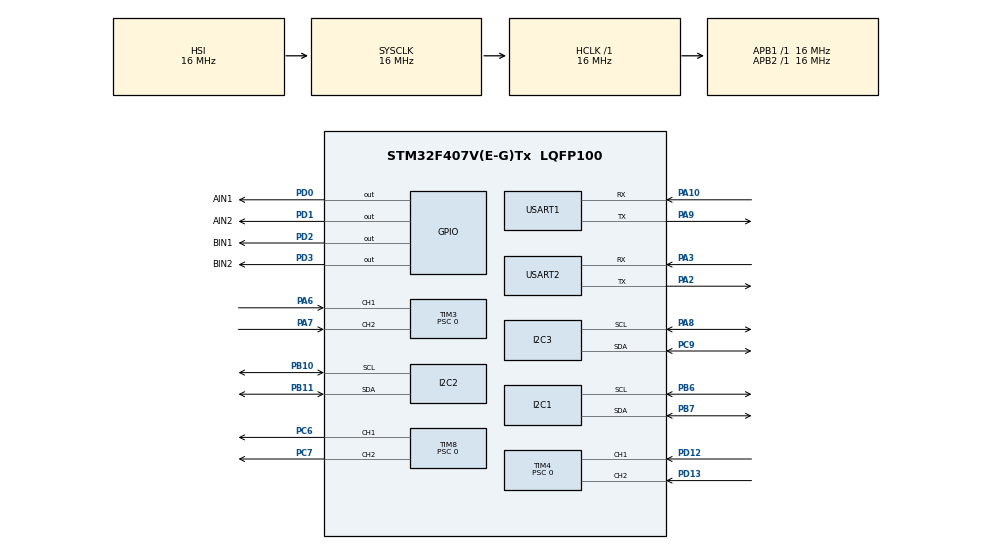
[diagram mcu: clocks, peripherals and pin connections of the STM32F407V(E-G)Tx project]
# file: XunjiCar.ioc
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Mcu.Family=STM32F4
Mcu.Name=STM32F407V(E-G)Tx
Mcu.Package=LQFP100
NVIC.PriorityGroup=NVIC_PRIORITYGROUP_4
NVIC.USART1_IRQn=true\:0\:0\:false\:false\:true\:true\:true\:true
PA10.Mode=Asynchronous
PA10.Signal=USART1_RX
PA13.Mode=Serial_Wire
PA13.Signal=SYS_JTMS-SWDIO
PA14.Mode=Serial_Wire
PA14.Signal=SYS_JTCK-SWCLK
PA2.Mode=Asynchronous
PA2.Signal=USART2_TX
PA3.Mode=Asynchronous
PA3.Signal=USART2_RX
PA6.Signal=S_TIM3_CH1
PA7.Signal=S_TIM3_CH2
PA8.Mode=I2C
PA8.Signal=I2C3_SCL
PA9.Mode=Asynchronous
PA9.Signal=USART1_TX
PB10.Mode=I2C
PB10.Signal=I2C2_SCL
PB11.Mode=I2C
PB11.Signal=I2C2_SDA
PB6.Mode=I2C
PB6.Signal=I2C1_SCL
PB7.Mode=I2C
PB7.Signal=I2C1_SDA
PC6.Signal=S_TIM8_CH1
PC7.Signal=S_TIM8_CH2
PC9.Mode=I2C
PC9.Signal=I2C3_SDA
PD0.GPIO_Label=AIN1
PD0.Signal=GPIO_Output
PD1.GPIO_Label=AIN2
PD1.Signal=GPIO_Output
PD12.Signal=S_TIM4_CH1
PD13.Signal=S_TIM4_CH2
PD2.GPIO_Label=BIN1
PD2.Signal=GPIO_Output
PD3.GPIO_Label=BIN2
PD3.Signal=GPIO_Output
ProjectManager.HeapSize=0x200
ProjectManager.StackSize=0x400
ProjectManager.TargetToolchain=CMake
RCC.AHBFreq_Value=16000000
RCC.APB1Freq_Value=16000000
RCC.APB1TimFreq_Value=16000000
RCC.APB2Freq_Value=16000000
RCC.APB2TimFreq_Value=16000000
RCC.CortexFreq_Value=16000000
RCC.HCLKFreq_Value=16000000
RCC.HSE_VALUE=25000000
RCC.HSI_VALUE=16000000
RCC.LSE_VALUE=32768
RCC.SYSCLKFreq_VALUE=16000000
RCC.VCOOutputFreq_Value=192000000
SH.S_TIM3_CH1.0=TIM3_CH1,Encoder_Interface
SH.S_TIM3_CH2.0=TIM3_CH2,Encoder_Interface
SH.S_TIM4_CH1.0=TIM4_CH1,Encoder_Interface
SH.S_TIM4_CH2.0=TIM4_CH2,Encoder_Interface
SH.S_TIM8_CH1.0=TIM8_CH1,PWM Generation1 CH1
SH.S_TIM8_CH2.0=TIM8_CH2,PWM Generation2 CH2
TIM3.EncoderMode=TIM_ENCODERMODE_TI12
TIM3.IC1Filter=6
TIM3.IC2Filter=6
TIM3.Period=65535
TIM3.Prescaler=0
TIM4.EncoderMode=TIM_ENCODERMODE_TI12
TIM4.IC1Filter=6
TIM4.IC2Filter=6
TIM4.Period=65535
TIM4.Prescaler=0
TIM8.Channel-PWM\ Generation1\ CH1=TIM_CHANNEL_1
TIM8.Channel-PWM\ Generation2\ CH2=TIM_CHANNEL_2
TIM8.Period=799
TIM8.Prescaler=0
TIM8.Pulse-PWM\ Generation1\ CH1=0
TIM8.Pulse-PWM\ Generation2\ CH2=0
USART1.VirtualMode=VM_ASYNC
USART2.VirtualMode=VM_ASYNC
board=custom

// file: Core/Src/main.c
/* USER CODE BEGIN Header */
/**
  ******************************************************************************
  * @file           : main.c
  * @brief          : Main program body
  ******************************************************************************
  * @attention
  *
  * Copyright (c) 2026 STMicroelectronics.
  * All rights reserved.
  *
  * This software is licensed under terms that can be found in the LICENSE file
  * in the root directory of this software component.
  * If no LICENSE file comes with this software, it is provided AS-IS.
  *
  ******************************************************************************
  */
/* USER CODE END Header */
#include "main.h"
#include "i2c.h"
#include "tim.h"
#include "usart.h"
#include "gpio.h"

/* USER CODE BEGIN Includes */
#include "track_uart.h"
#include "telemetry.h"
#include "motor_test.h"
#include "mpu6050.h"
#include "line_follow.h"
/* USER CODE END Includes */

/* USER CODE BEGIN PD */

/** ===== 调试开关: 让轮子一直慢慢转 =====
  * 1 = 上电 MOTOR_SPIN_DELAY_MS 之后, 两个轮子一直以 MOTOR_SPIN_DUTY 往前慢转.
  *     完全绕过 循迹 / 激光避障 / 丢线判断, 只用来单独验证
  *     "单片机 -> TIM8 PWM -> TB6612 -> 电机 -> 电池" 这一整条路是否正常.
  *     ★ 烧录前必须把轮子架空, 否则车会一直往前跑!
  * 0 = 正常循迹模式 (参数在 line_follow.h)
  * 想让它反转就把 MOTOR_SPIN_DUTY 写成负数. */
#define MOTOR_SPIN_TEST          (0)

/** 慢转占空比 (%): 20~25 是"慢慢转"; 太小(<15)克服不了静摩擦, 看起来像不转 */
#define MOTOR_SPIN_DUTY          (25)

/** 上电后等多久开始转 (ms): 留时间把车放稳、手拿开 */
#define MOTOR_SPIN_DELAY_MS      (3000u)

/* USER CODE END PD */

void SystemClock_Config(void);

/* USER CODE BEGIN 0 */

#if (MOTOR_SPIN_TEST == 1)
/** 轮子慢转调试模式: 起转时刻 */
static uint32_t s_spin_t0 = 0u;

/** 到点之后每个主循环刷新一次占空比, 把 PWM 一直保持住 */
static void MotorSpin_Task(void)
{
  if ((HAL_GetTick() - s_spin_t0) >= MOTOR_SPIN_DELAY_MS)
  {
    Motor_SetDuty(MOTOR_A, MOTOR_SPIN_DUTY);
    Motor_SetDuty(MOTOR_B, MOTOR_SPIN_DUTY);
  }
}
#endif

/* USER CODE END 0 */

int main(void)
{

  /* MCU Configuration--------------------------------------------------------*/

  /* Reset of all peripherals, Initializes the Flash interface and the Systick. */
  HAL_Init();

  /* Configure the system clock */
  SystemClock_Config();

  /* Initialize all configured peripherals */
  MX_GPIO_Init();
  MX_I2C2_Init();
  MX_USART2_UART_Init();
  MX_I2C1_Init();
  MX_I2C3_Init();
  MX_TIM3_Init();
  MX_TIM4_Init();
  MX_TIM8_Init();
  MX_USART1_UART_Init();
  /* USER CODE BEGIN 2 */
  /* Wait for the modules to stabilize after power-on
     (vendor line-tracking example uses 3000 ms) */
  HAL_Delay(TRACK_POWER_ON_DELAY_MS);

  /* Probe + init the VL53L0X and start continuous ranging.
     Safe when the sensor is absent: frames will show D=---mm
     注意: 激光测距总开关 LF_ENABLE_TOF_LASER (line_follow.h) 默认是 0(关),
           关着时这里不会去探测 VL53L0X, 帧里也没有 D1/D2 字段 */
  Telemetry_Init();

  /* Single-motor wiring test: TIM8_CH1 PWM + AIN1/AIN2 + TIM3 encoder.
     STBY is tied high in hardware, so it is not driven here.
     注意: MOTOR_TEST_AUTO_RUN 已改成 0, 上电不再自动跑测试序列,
           否则会和下面的循迹控制环抢电机. 要单测电机时再把它改回 1. */
  Motor_Init();

  /* MPU6050 on I2C2 (PB10/PB11): probe + configure; auto-retries if absent */
  MPU6050_Init();

#if (MOTOR_SPIN_TEST == 1)
  /* 调试模式: 不启动循迹控制环
     (它一看到"没线"或"有障碍"就会把电机停掉), 改成延时后让两个轮子一直慢转 */
  s_spin_t0 = HAL_GetTick();
#else
  /* 循迹控制环 + 激光避障: 参数全在 line_follow.h
     上电 LF_START_DELAY_MS 后自动开始 (LF_AUTO_START=1 时) */
  LineFollow_Init();
#endif

  /* To run the line-sensor calibration, uncomment these:
     enter calibrate -> sweep over the black/white line -> exit.
     (Calibration is stored inside the module, survives power-off.) */
  // (void)Track_SetAdjustMode(1u);
  // HAL_Delay(3000);
  // (void)Track_SetAdjustMode(0u);
  // HAL_Delay(500);
  /* USER CODE END 2 */

  /* Infinite loop */
  while (1)
  {

    /* USER CODE BEGIN 3 */
    /* Sample first, so the frame carries the freshest data:
       - LineFollow_Task: 循迹控制环 (算差速 -> 直接驱动两个电机)
       - Motor_TestTask: encoder accumulation + auto test sequence
       - MPU6050_Task  : IMU sampling (silent, no UART output) */
#if (MOTOR_SPIN_TEST == 1)
    MotorSpin_Task();     /* 调试模式: 两个轮子一直慢转 */
#else
    LineFollow_Task();    /* 正常模式: 循迹控制环驱动电机 */
#endif
    Motor_TestTask();
    MPU6050_Task();

    /* Single sender: builds and sends one unified $CAR frame on USART2 */
    Telemetry_Task();

    HAL_Delay(TELEMETRY_TASK_PERIOD_MS);
  }
  /* USER CODE END 3 */
}

void SystemClock_Config(void)
{
  RCC_OscInitTypeDef RCC_OscInitStruct = {0};
  RCC_ClkInitTypeDef RCC_ClkInitStruct = {0};

  /** Configure the main internal regulator output voltage
  */
  __HAL_RCC_PWR_CLK_ENABLE();
  __HAL_PWR_VOLTAGESCALING_CONFIG(PWR_REGULATOR_VOLTAGE_SCALE1);

  /** Initializes the RCC Oscillators according to the specified parameters
  * in the RCC_OscInitTypeDef structure.
  */
  RCC_OscInitStruct.OscillatorType = RCC_OSCILLATORTYPE_HSI;
  RCC_OscInitStruct.HSIState = RCC_HSI_ON;
  RCC_OscInitStruct.HSICalibrationValue = RCC_HSICALIBRATION_DEFAULT;
  RCC_OscInitStruct.PLL.PLLState = RCC_PLL_NONE;
  if (HAL_RCC_OscConfig(&RCC_OscInitStruct) != HAL_OK)
  {
    Error_Handler();
  }

  /** Initializes the CPU, AHB and APB buses clocks
  */
  RCC_ClkInitStruct.ClockType = RCC_CLOCKTYPE_HCLK|RCC_CLOCKTYPE_SYSCLK
                              |RCC_CLOCKTYPE_PCLK1|RCC_CLOCKTYPE_PCLK2;
  RCC_ClkInitStruct.SYSCLKSource = RCC_SYSCLKSOURCE_HSI;
  RCC_ClkInitStruct.AHBCLKDivider = RCC_SYSCLK_DIV1;
  RCC_ClkInitStruct.APB1CLKDivider = RCC_HCLK_DIV1;
  RCC_ClkInitStruct.APB2CLKDivider = RCC_HCLK_DIV1;

  if (HAL_RCC_ClockConfig(&RCC_ClkInitStruct, FLASH_LATENCY_0) != HAL_OK)
  {
    Error_Handler();
  }
}

void Error_Handler(void)
{
  __disable_irq();
  while (1)
  {
  }
}
